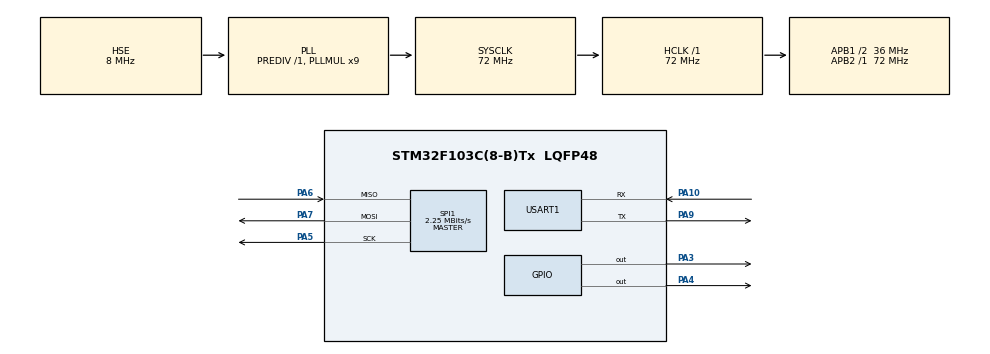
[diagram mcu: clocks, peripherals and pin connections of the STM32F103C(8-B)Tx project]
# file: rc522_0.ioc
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Mcu.Family=STM32F1
Mcu.Name=STM32F103C(8-B)Tx
Mcu.Package=LQFP48
NVIC.PriorityGroup=NVIC_PRIORITYGROUP_4
PA10.Mode=Asynchronous
PA10.Signal=USART1_RX
PA13.Mode=Serial_Wire
PA13.Signal=SYS_JTMS-SWDIO
PA14.Mode=Serial_Wire
PA14.Signal=SYS_JTCK-SWCLK
PA3.PinState=GPIO_PIN_SET
PA3.Signal=GPIO_Output
PA4.PinState=GPIO_PIN_SET
PA4.Signal=GPIO_Output
PA5.Mode=Full_Duplex_Master
PA5.Signal=SPI1_SCK
PA6.Mode=Full_Duplex_Master
PA6.Signal=SPI1_MISO
PA7.Mode=Full_Duplex_Master
PA7.Signal=SPI1_MOSI
PA9.Mode=Asynchronous
PA9.Signal=USART1_TX
PD0-OSC_IN.Mode=HSE-External-Oscillator
PD0-OSC_IN.Signal=RCC_OSC_IN
PD1-OSC_OUT.Mode=HSE-External-Oscillator
PD1-OSC_OUT.Signal=RCC_OSC_OUT
ProjectManager.HeapSize=0x200
ProjectManager.StackSize=0x400
ProjectManager.TargetToolchain=MDK-ARM V5.32
RCC.AHBFreq_Value=72000000
RCC.APB1CLKDivider=RCC_HCLK_DIV2
RCC.APB1Freq_Value=36000000
RCC.APB1TimFreq_Value=72000000
RCC.APB2Freq_Value=72000000
RCC.APB2TimFreq_Value=72000000
RCC.HCLKFreq_Value=72000000
RCC.PLLMUL=RCC_PLL_MUL9
RCC.PLLSourceVirtual=RCC_PLLSOURCE_HSE
RCC.SYSCLKFreq_VALUE=72000000
RCC.SYSCLKSource=RCC_SYSCLKSOURCE_PLLCLK
RCC.USBFreq_Value=72000000
SPI1.BaudRatePrescaler=SPI_BAUDRATEPRESCALER_32
SPI1.CalculateBaudRate=2.25 MBits/s
SPI1.Direction=SPI_DIRECTION_2LINES
SPI1.Mode=SPI_MODE_MASTER
SPI1.VirtualType=VM_MASTER
USART1.VirtualMode=VM_ASYNC
board=custom

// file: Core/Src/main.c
/* USER CODE BEGIN Header */
/**
  ******************************************************************************
  * @file           : main.c
  * @brief          : Main program body
  ******************************************************************************
  * @attention
  *
  * Copyright (c) 2026 STMicroelectronics.
  * All rights reserved.
  *
  * This software is licensed under terms that can be found in the LICENSE file
  * in the root directory of this software component.
  * If no LICENSE file comes with this software, it is provided AS-IS.
  *
  ******************************************************************************
  */
/* USER CODE END Header */
#include "main.h"
#include "spi.h"
#include "usart.h"
#include "gpio.h"

/* USER CODE BEGIN Includes */
#include "rc522.h"
#include <stdio.h>
#include <stdarg.h>
/* USER CODE END Includes */

void SystemClock_Config(void);

/* USER CODE BEGIN 0 */
  static void uart_printf(const char *fmt, ...)
  {
    static char buf[160];
    va_list args;
    va_start(args, fmt);
    int len = vsnprintf(buf, sizeof(buf), fmt, args);
    va_end(args);
    if (len <= 0) return;
    if (len > (int)sizeof(buf)) len = (int)sizeof(buf);
    HAL_UART_Transmit(&huart1, (uint8_t *)buf, (uint16_t)len, 300);
  }
  /* USER CODE END 0 */

int main(void)
{

  /* MCU Configuration--------------------------------------------------------*/

  /* Reset of all peripherals, Initializes the Flash interface and the Systick. */
  HAL_Init();

  /* Configure the system clock */
  SystemClock_Config();

  /* Initialize all configured peripherals */
  MX_GPIO_Init();
  MX_SPI1_Init();
  MX_USART1_UART_Init();

  /* Infinite loop */
  while (1)
  {

    /* USER CODE BEGIN 3 */

    uint8_t hb = RC522_GetVersion();
    uart_printf("[HB] ver=0x%02X %s\r\n", hb, (hb==RC522_VERSION_V1_0||hb==RC522_VERSION_V2_0)?"OK":"ERR");
		HAL_Delay(2000);
  }
  /* USER CODE END 3 */
}

void SystemClock_Config(void)
{
  RCC_OscInitTypeDef RCC_OscInitStruct = {0};
  RCC_ClkInitTypeDef RCC_ClkInitStruct = {0};

  /** Initializes the RCC Oscillators according to the specified parameters
  * in the RCC_OscInitTypeDef structure.
  */
  RCC_OscInitStruct.OscillatorType = RCC_OSCILLATORTYPE_HSE;
  RCC_OscInitStruct.HSEState = RCC_HSE_ON;
  RCC_OscInitStruct.HSEPredivValue = RCC_HSE_PREDIV_DIV1;
  RCC_OscInitStruct.HSIState = RCC_HSI_ON;
  RCC_OscInitStruct.PLL.PLLState = RCC_PLL_ON;
  RCC_OscInitStruct.PLL.PLLSource = RCC_PLLSOURCE_HSE;
  RCC_OscInitStruct.PLL.PLLMUL = RCC_PLL_MUL9;
  if (HAL_RCC_OscConfig(&RCC_OscInitStruct) != HAL_OK)
  {
    Error_Handler();
  }

  /** Initializes the CPU, AHB and APB buses clocks
  */
  RCC_ClkInitStruct.ClockType = RCC_CLOCKTYPE_HCLK|RCC_CLOCKTYPE_SYSCLK
                              |RCC_CLOCKTYPE_PCLK1|RCC_CLOCKTYPE_PCLK2;
  RCC_ClkInitStruct.SYSCLKSource = RCC_SYSCLKSOURCE_PLLCLK;
  RCC_ClkInitStruct.AHBCLKDivider = RCC_SYSCLK_DIV1;
  RCC_ClkInitStruct.APB1CLKDivider = RCC_HCLK_DIV2;
  RCC_ClkInitStruct.APB2CLKDivider = RCC_HCLK_DIV1;

  if (HAL_RCC_ClockConfig(&RCC_ClkInitStruct, FLASH_LATENCY_2) != HAL_OK)
  {
    Error_Handler();
  }
}

void Error_Handler(void)
{
  __disable_irq();
  while (1)
  {
  }
}
